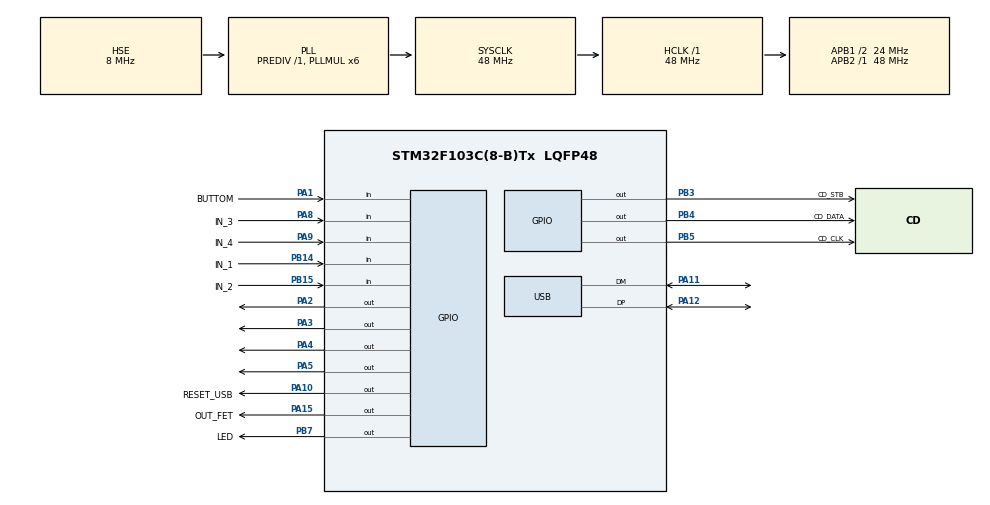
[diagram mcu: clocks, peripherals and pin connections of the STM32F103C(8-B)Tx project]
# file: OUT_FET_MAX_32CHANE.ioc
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Mcu.Family=STM32F1
Mcu.Name=STM32F103C(8-B)Tx
Mcu.Package=LQFP48
NVIC.PriorityGroup=NVIC_PRIORITYGROUP_4
NVIC.USB_LP_CAN1_RX0_IRQn=true\:0\:0\:false\:false\:true\:false
PA1.GPIO_Label=BUTTOM
PA1.GPIO_PuPd=GPIO_PULLUP
PA1.Signal=GPIO_Input
PA10.GPIO_Label=RESET_USB
PA10.PinState=GPIO_PIN_SET
PA10.Signal=GPIO_Output
PA11.Mode=Device
PA11.Signal=USB_DM
PA12.Mode=Device
PA12.Signal=USB_DP
PA13.Mode=Serial_Wire
PA13.Signal=SYS_JTMS-SWDIO
PA14.Mode=Serial_Wire
PA14.Signal=SYS_JTCK-SWCLK
PA15.GPIO_Label=OUT_FET
PA15.Signal=GPIO_Output
PA2.Signal=GPIO_Output
PA3.Signal=GPIO_Output
PA4.Signal=GPIO_Output
PA5.Signal=GPIO_Output
PA8.GPIO_Label=IN_3
PA8.GPIO_PuPd=GPIO_PULLUP
PA8.Signal=GPIO_Input
PA9.GPIO_Label=IN_4
PA9.GPIO_PuPd=GPIO_PULLUP
PA9.Signal=GPIO_Input
PB14.GPIO_Label=IN_1
PB14.GPIO_PuPd=GPIO_PULLUP
PB14.Signal=GPIO_Input
PB15.GPIO_Label=IN_2
PB15.GPIO_PuPd=GPIO_PULLUP
PB15.Signal=GPIO_Input
PB3.GPIO_Label=CD_STB
PB3.Signal=GPIO_Output
PB4.GPIO_Label=CD_DATA
PB4.Signal=GPIO_Output
PB5.GPIO_Label=CD_CLK
PB5.Signal=GPIO_Output
PB7.GPIO_Label=LED
PB7.Signal=GPIO_Output
PD0-OSC_IN.Mode=HSE-External-Oscillator
PD0-OSC_IN.Signal=RCC_OSC_IN
PD1-OSC_OUT.Mode=HSE-External-Oscillator
PD1-OSC_OUT.Signal=RCC_OSC_OUT
ProjectManager.HeapSize=0x200
ProjectManager.StackSize=0x400
ProjectManager.TargetToolchain=MDK-ARM V5
RCC.AHBFreq_Value=48000000
RCC.APB1CLKDivider=RCC_HCLK_DIV2
RCC.APB1Freq_Value=24000000
RCC.APB1TimFreq_Value=48000000
RCC.APB2Freq_Value=48000000
RCC.APB2TimFreq_Value=48000000
RCC.HCLKFreq_Value=48000000
RCC.PLLMUL=RCC_PLL_MUL6
RCC.SYSCLKFreq_VALUE=48000000
RCC.SYSCLKSource=RCC_SYSCLKSOURCE_PLLCLK
RCC.USBFreq_Value=48000000
USB_DEVICE.APP_RX_DATA_SIZE=6000
USB_DEVICE.CLASS_NAME_FS=CDC
USB_DEVICE.VirtualMode=Cdc
USB_DEVICE.VirtualModeFS=Cdc_FS
VP_USB_DEVICE_VS_USB_DEVICE_CDC_FS.Mode=CDC_FS
board=OUT_FET_MAX_32CHANE

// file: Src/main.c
/**
  ******************************************************************************
  * File Name          : main.c
  * Description        : Main program body
  ******************************************************************************
  * This notice applies to any and all portions of this file
  * that are not between comment pairs USER CODE BEGIN and
  * USER CODE END. Other portions of this file, whether
  * inserted by the user or by software development tools
  * are owned by their respective copyright owners.
  *
  * Copyright (c) 2018 STMicroelectronics International N.V.
  * All rights reserved.
  *
  * Redistribution and use in source and binary forms, with or without
  * modification, are permitted, provided that the following conditions are met:
  *
  * 1. Redistribution of source code must retain the above copyright notice,
  *    this list of conditions and the following disclaimer.
  * 2. Redistributions in binary form must reproduce the above copyright notice,
  *    this list of conditions and the following disclaimer in the documentation
  *    and/or other materials provided with the distribution.
  * 3. Neither the name of STMicroelectronics nor the names of other
  *    contributors to this software may be used to endorse or promote products
  *    derived from this software without specific written permission.
  * 4. This software, including modifications and/or derivative works of this
  *    software, must execute solely and exclusively on microcontroller or
  *    microprocessor devices manufactured by or for STMicroelectronics.
  * 5. Redistribution and use of this software other than as permitted under
  *    this license is void and will automatically terminate your rights under
  *    this license.
  *
  * THIS SOFTWARE IS PROVIDED BY STMICROELECTRONICS AND CONTRIBUTORS "AS IS"
  * AND ANY EXPRESS, IMPLIED OR STATUTORY WARRANTIES, INCLUDING, BUT NOT
  * LIMITED TO, THE IMPLIED WARRANTIES OF MERCHANTABILITY, FITNESS FOR A
  * PARTICULAR PURPOSE AND NON-INFRINGEMENT OF THIRD PARTY INTELLECTUAL PROPERTY
  * RIGHTS ARE DISCLAIMED TO THE FULLEST EXTENT PERMITTED BY LAW. IN NO EVENT
  * SHALL STMICROELECTRONICS OR CONTRIBUTORS BE LIABLE FOR ANY DIRECT, INDIRECT,
  * INCIDENTAL, SPECIAL, EXEMPLARY, OR CONSEQUENTIAL DAMAGES (INCLUDING, BUT NOT
  * LIMITED TO, PROCUREMENT OF SUBSTITUTE GOODS OR SERVICES; LOSS OF USE, DATA,
  * OR PROFITS; OR BUSINESS INTERRUPTION) HOWEVER CAUSED AND ON ANY THEORY OF
  * LIABILITY, WHETHER IN CONTRACT, STRICT LIABILITY, OR TORT (INCLUDING
  * NEGLIGENCE OR OTHERWISE) ARISING IN ANY WAY OUT OF THE USE OF THIS SOFTWARE,
  * EVEN IF ADVISED OF THE POSSIBILITY OF SUCH DAMAGE.
  *
  ******************************************************************************
  */
#include "main.h"
#include "stm32f1xx_hal.h"
#include "usb_device.h"

/* USER CODE BEGIN Includes */
#include "cd4094.h"
#include "flash.h"
#include "control.h"
#include "eeprom24c.h"
#include "i2c_soft.h"
#include "queue.h"
#include "usbd_cdc_if.h"
/* USER CODE END Includes */

/* USER CODE BEGIN PV */
/* Private variables ---------------------------------------------------------*/
uint8_t Update;
uint8_t DaTaUSB[5000];
uint16_t Max_Lengh;
uint16_t dem_break;

GPIO_InitTypeDef GPIO_InitStruct;
uint8_t data;
/* USER CODE END PV */

void SystemClock_Config(void);
static void MX_GPIO_Init(void);

/* USER CODE BEGIN PFP */
/* Private function prototypes -----------------------------------------------*/

/* USER CODE END PFP */

int main(void)
{

  /* MCU Configuration----------------------------------------------------------*/

  /* Reset of all peripherals, Initializes the Flash interface and the Systick. */
  HAL_Init();

  /* Configure the system clock */
  SystemClock_Config();

  /* Initialize all configured peripherals */
  MX_GPIO_Init();
  MX_USB_DEVICE_Init();

  /* USER CODE BEGIN 2 */

/*******************************************************************************************/
    HAL_GPIO_WritePin(OUT_FET_GPIO_Port,OUT_FET_Pin,GPIO_PIN_RESET);

    if(BUTTON_PRESS())
    {
        Set_Address_Data_USB();
        Enable_USB();

        Ctrl_Write_Data();                    /* Start read and write data to flash */
    }
    Disable_USB();

    Ctrl_Run_Effect();

/*******************************************************************************************/
  /* USER CODE END 2 */

  /* Infinite loop */
  /* USER CODE BEGIN WHILE */

  while (1)
  {
//      HAL_GPIO_WritePin(LED_GPIO_Port,LED_Pin,GPIO_PIN_RESET);
//      HAL_Delay(200);
//      HAL_GPIO_WritePin(LED_GPIO_Port,LED_Pin,GPIO_PIN_SET);
//      HAL_Delay(200);

     //Read_data_edd();

// ham chay hieu ung

    //run_step_epp ();

//		current_read_byte(&data);
//
//		while(I2CSOFT_SDAIN == 0) LED = 1;
//			LED=0;
//		while(IN_3 == 0) LED = 1;
//			LED=0;
//		while(IN_4 == 0) LED = 1;
//			LED=0;
//

  /* USER CODE END WHILE */

  /* USER CODE BEGIN 3 */
    CD4094_InByte(0xAA);
    CD4094_InByte(0xAA);
    CD4094_InByte(0xAA);
    CD4094_InByte(0xAA);
    CD4094_Latch();

    HAL_Delay(500);
    CD4094_InByte(0);
    CD4094_InByte(0);
    CD4094_InByte(0);
    CD4094_InByte(0);
    CD4094_Latch();
    HAL_Delay(500);
    HAL_GPIO_TogglePin(LED_GPIO_Port,LED_Pin);
  }
  /* USER CODE END 3 */

}

/** System Clock Configuration
*/
void SystemClock_Config(void)
{

  RCC_OscInitTypeDef RCC_OscInitStruct;
  RCC_ClkInitTypeDef RCC_ClkInitStruct;
  RCC_PeriphCLKInitTypeDef PeriphClkInit;

    /**Initializes the CPU, AHB and APB busses clocks
    */
  RCC_OscInitStruct.OscillatorType = RCC_OSCILLATORTYPE_HSE;
  RCC_OscInitStruct.HSEState = RCC_HSE_ON;
  RCC_OscInitStruct.HSEPredivValue = RCC_HSE_PREDIV_DIV1;
  RCC_OscInitStruct.HSIState = RCC_HSI_ON;
  RCC_OscInitStruct.PLL.PLLState = RCC_PLL_ON;
  RCC_OscInitStruct.PLL.PLLSource = RCC_PLLSOURCE_HSE;
  RCC_OscInitStruct.PLL.PLLMUL = RCC_PLL_MUL6;
  if (HAL_RCC_OscConfig(&RCC_OscInitStruct) != HAL_OK)
  {
    _Error_Handler(__FILE__, __LINE__);
  }

    /**Initializes the CPU, AHB and APB busses clocks
    */
  RCC_ClkInitStruct.ClockType = RCC_CLOCKTYPE_HCLK|RCC_CLOCKTYPE_SYSCLK
                              |RCC_CLOCKTYPE_PCLK1|RCC_CLOCKTYPE_PCLK2;
  RCC_ClkInitStruct.SYSCLKSource = RCC_SYSCLKSOURCE_PLLCLK;
  RCC_ClkInitStruct.AHBCLKDivider = RCC_SYSCLK_DIV1;
  RCC_ClkInitStruct.APB1CLKDivider = RCC_HCLK_DIV2;
  RCC_ClkInitStruct.APB2CLKDivider = RCC_HCLK_DIV1;

  if (HAL_RCC_ClockConfig(&RCC_ClkInitStruct, FLASH_LATENCY_1) != HAL_OK)
  {
    _Error_Handler(__FILE__, __LINE__);
  }

  PeriphClkInit.PeriphClockSelection = RCC_PERIPHCLK_USB;
  PeriphClkInit.UsbClockSelection = RCC_USBCLKSOURCE_PLL;
  if (HAL_RCCEx_PeriphCLKConfig(&PeriphClkInit) != HAL_OK)
  {
    _Error_Handler(__FILE__, __LINE__);
  }

    /**Configure the Systick interrupt time
    */
  HAL_SYSTICK_Config(HAL_RCC_GetHCLKFreq()/1000);

    /**Configure the Systick
    */
  HAL_SYSTICK_CLKSourceConfig(SYSTICK_CLKSOURCE_HCLK);

  /* SysTick_IRQn interrupt configuration */
  HAL_NVIC_SetPriority(SysTick_IRQn, 0, 0);
}

/** Configure pins as
        * Analog
        * Input
        * Output
        * EVENT_OUT
        * EXTI
*/
static void MX_GPIO_Init(void)
{

  GPIO_InitTypeDef GPIO_InitStruct;

  /* GPIO Ports Clock Enable */
  __HAL_RCC_GPIOD_CLK_ENABLE();
  __HAL_RCC_GPIOA_CLK_ENABLE();
  __HAL_RCC_GPIOB_CLK_ENABLE();

  /*Configure GPIO pin Output Level */
  HAL_GPIO_WritePin(GPIOA, GPIO_PIN_2|GPIO_PIN_3|GPIO_PIN_4|GPIO_PIN_5
                          |OUT_FET_Pin, GPIO_PIN_RESET);

  /*Configure GPIO pin Output Level */
  HAL_GPIO_WritePin(RESET_USB_GPIO_Port, RESET_USB_Pin, GPIO_PIN_SET);

  /*Configure GPIO pin Output Level */
  HAL_GPIO_WritePin(GPIOB, CD_STB_Pin|CD_DATA_Pin|CD_CLK_Pin|LED_Pin, GPIO_PIN_RESET);

  /*Configure GPIO pins : BUTTOM_Pin IN_3_Pin IN_4_Pin */
  GPIO_InitStruct.Pin = BUTTOM_Pin|IN_3_Pin|IN_4_Pin;
  GPIO_InitStruct.Mode = GPIO_MODE_INPUT;
  GPIO_InitStruct.Pull = GPIO_PULLUP;
  HAL_GPIO_Init(GPIOA, &GPIO_InitStruct);

  /*Configure GPIO pins : PA2 PA3 PA4 PA5
                           RESET_USB_Pin OUT_FET_Pin */
  GPIO_InitStruct.Pin = GPIO_PIN_2|GPIO_PIN_3|GPIO_PIN_4|GPIO_PIN_5
                          |RESET_USB_Pin|OUT_FET_Pin;
  GPIO_InitStruct.Mode = GPIO_MODE_OUTPUT_PP;
  GPIO_InitStruct.Speed = GPIO_SPEED_FREQ_LOW;
  HAL_GPIO_Init(GPIOA, &GPIO_InitStruct);

  /*Configure GPIO pins : IN_1_Pin IN_2_Pin */
  GPIO_InitStruct.Pin = IN_1_Pin|IN_2_Pin;
  GPIO_InitStruct.Mode = GPIO_MODE_INPUT;
  GPIO_InitStruct.Pull = GPIO_PULLUP;
  HAL_GPIO_Init(GPIOB, &GPIO_InitStruct);

  /*Configure GPIO pins : CD_STB_Pin CD_DATA_Pin CD_CLK_Pin LED_Pin */
  GPIO_InitStruct.Pin = CD_STB_Pin|CD_DATA_Pin|CD_CLK_Pin|LED_Pin;
  GPIO_InitStruct.Mode = GPIO_MODE_OUTPUT_PP;
  GPIO_InitStruct.Speed = GPIO_SPEED_FREQ_LOW;
  HAL_GPIO_Init(GPIOB, &GPIO_InitStruct);

}

void _Error_Handler(char * file, int line)
{
  while(1)
  {
  }
}

/************************ (C) COPYRIGHT STMicroelectronics *****END OF FILE****/
